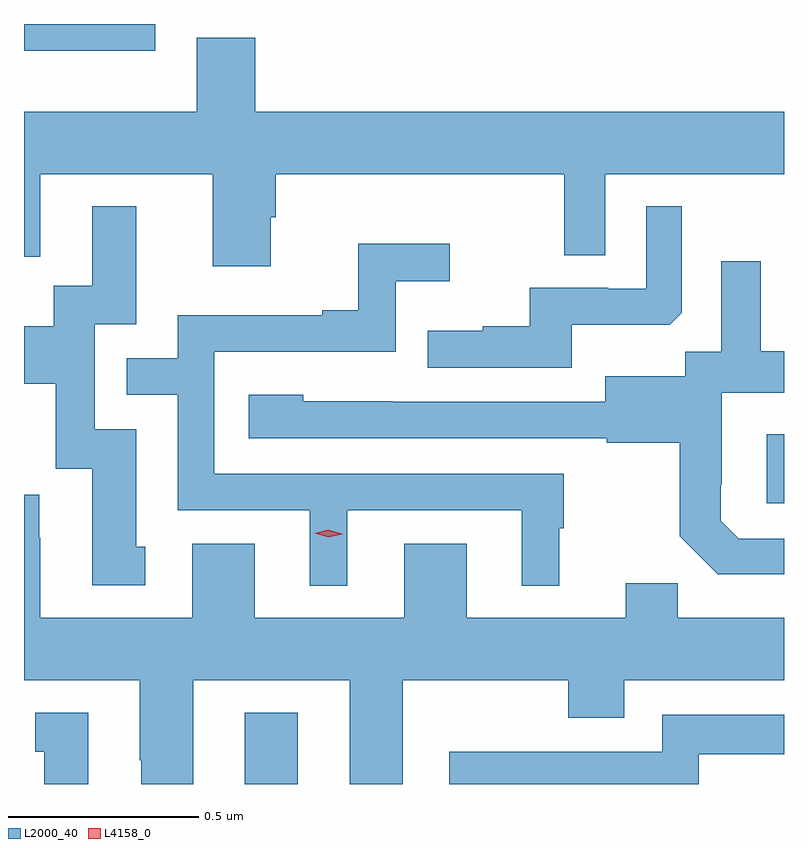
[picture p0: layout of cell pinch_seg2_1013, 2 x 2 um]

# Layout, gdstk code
import gdstk
lib = gdstk.Library(unit=1e-6, precision=1e-09)
def R(c, l, rs):  # rectangles x0, y0, x1, y1
    for r in rs: c.add(gdstk.rectangle(r[:2], r[2:], *l))
def P(c, l, *ps):  # polygons
    for p in ps: c.add(gdstk.Polygon(p, *l))
L2000_40 = (2000, 40)
L4158_0 = (4158, 0)

pinch_seg2_1013 = lib.new_cell('pinch_seg2_1013')
R(pinch_seg2_1013, L2000_40, [(195.689,650.027,195.829,650.215), (197.063,650.766,197.108,650.947), (195.108,651.956,195.454,652.027)])
P(pinch_seg2_1013, L2000_40, [(195.757,651.519),(195.77,651.519),(195.77,651.632),(196.53,651.632),(196.53,651.418),(196.638,651.418),(196.638,651.632),(197.108,651.632),(197.108,651.796),(195.716,651.796),(195.716,651.991),(195.563,651.991),(195.563,651.796),(195.108,651.796),(195.108,651.414),(195.151,651.414),(195.151,651.632),(195.605,651.632),(195.605,651.39),(195.757,651.39)],
  [(196.549,651.236),(196.807,651.236),(196.839,651.267),(196.839,651.547),(196.746,651.547),(196.746,651.33),(196.646,651.33),(196.646,651.333),(196.439,651.333),(196.439,651.232),(196.315,651.232),(196.315,651.22),(196.171,651.22),(196.171,651.123),(196.549,651.123)],
  [(195.427,650.652),(195.403,650.652),(195.403,650.961),(195.294,650.961),(195.294,651.237),(195.403,651.237),(195.403,651.547),(195.287,651.547),(195.287,651.338),(195.186,651.338),(195.186,651.232),(195.108,651.232),(195.108,651.08),(195.191,651.08),(195.191,650.856),(195.287,650.856),(195.287,650.55),(195.427,650.55)],
  [(195.958,650.748),(196.418,650.748),(196.418,650.549),(196.516,650.549),(196.516,650.7),(196.528,650.7),(196.528,650.844),(195.609,650.844),(195.609,651.165),(196.086,651.165),(196.086,651.35),(196.228,651.35),(196.228,651.449),(195.988,651.449),(195.988,651.274),(195.893,651.274),(195.893,651.261),(195.513,651.261),(195.513,651.147),(195.379,651.147),(195.379,651.051),(195.513,651.051),(195.513,650.748),(195.86,650.748),(195.86,650.549),(195.958,650.549)],
  [(197.108,650.673),(196.989,650.673),(196.942,650.72),(196.942,650.815),(196.944,650.815),(196.944,651.056),(197.108,651.056),(197.108,651.166),(197.047,651.166),(197.047,651.403),(196.943,651.403),(196.943,651.164),(196.848,651.164),(196.848,651.1),(196.637,651.1),(196.637,651.033),(196.079,651.033),(196.079,651.034),(195.843,651.034),(195.843,651.052),(195.699,651.052),(195.699,650.937),(196.641,650.937),(196.641,650.925),(196.833,650.925),(196.833,650.679),(196.933,650.579),(197.108,650.579)],
  [(195.965,650.027),(196.105,650.027),(196.105,650.3),(196.54,650.3),(196.54,650.201),(196.687,650.201),(196.687,650.3),(197.108,650.3),(197.108,650.464),(196.829,650.464),(196.829,650.555),(196.691,650.555),(196.691,650.464),(196.273,650.464),(196.273,650.659),(196.109,650.659),(196.109,650.464),(195.715,650.464),(195.715,650.659),(195.551,650.659),(195.551,650.464),(195.151,650.464),(195.151,650.675),(195.148,650.675),(195.148,650.788),(195.108,650.788),(195.108,650.3),(195.413,650.3),(195.413,650.089),(195.416,650.089),(195.416,650.027),(195.553,650.027),(195.553,650.3),(195.965,650.3)],
  [(195.277,650.215),(195.137,650.215),(195.137,650.112),(195.161,650.112),(195.161,650.027),(195.277,650.027)],
  [(196.884,650.105),(197.108,650.105),(197.108,650.209),(196.788,650.209),(196.788,650.112),(196.227,650.112),(196.227,650.027),(196.884,650.027)])
P(pinch_seg2_1013, L4158_0, [(195.909,650.676),(195.873,650.687),(195.873,650.687),(195.873,650.687),(195.909,650.696),(195.945,650.685),(195.945,650.684),(195.945,650.684)])

lib.write_gds('pinch_seg2_1013.gds')
